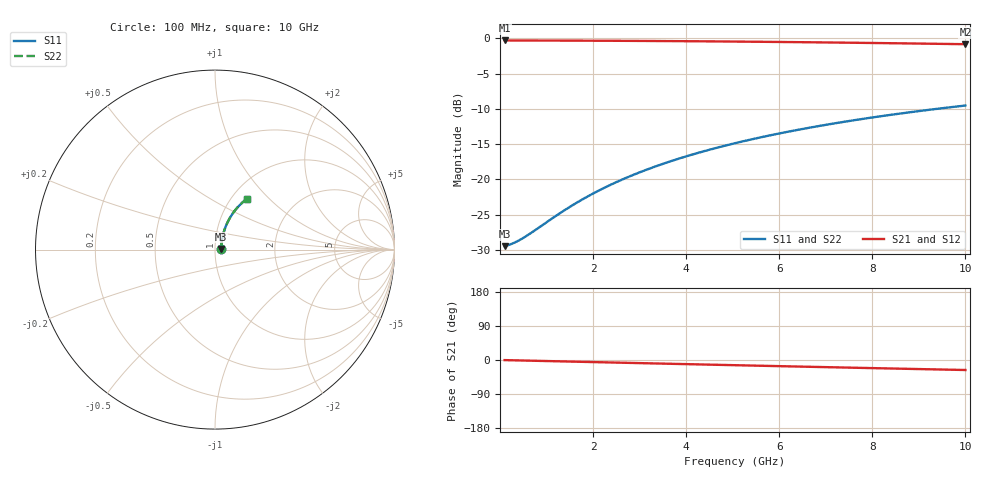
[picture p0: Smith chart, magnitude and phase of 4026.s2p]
# Hz S RI R 50.00
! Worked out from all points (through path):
!   100 points, 100 MHz to 10 GHz, reference 50 ohm
!   highest |S21| = -0.30 dB at 100 MHz (marker M1); lowest = -0.8 dB at 10 GHz (marker M2)
!   group delay of S21, straight-line fit = 7.35 ps
!   lowest |S11| = -29.4 dB at 100 MHz (marker M3), VSWR 1.07, Z = 53.5 + j0.367 ohm
!   |S11| at or under -10 dB: start of sweep to 9.375 GHz
!   |S22| runs from -29.4 to -9.5 dB; largest |S21 - S12| = 0
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1e8  0.0335 0.00343  0.9665 -0.00463  0.9665 -0.00463  0.0335 0.00343
2e8  0.0338 0.00685  0.9662 -0.00926  0.9662 -0.00926  0.0338 0.00685
3e8  0.034 0.0103  0.966 -0.0139  0.966 -0.0139  0.034 0.0103
5e8  0.0345 0.0171  0.9655 -0.0231  0.9655 -0.0231  0.0345 0.0171
7e8  0.0351 0.0239  0.9649 -0.0324  0.9649 -0.0324  0.0351 0.0239
1.3e9  0.0374 0.0443  0.9624 -0.06  0.9624 -0.06  0.0374 0.0443
1.6e9  0.039 0.0544  0.9608 -0.0737  0.9608 -0.0737  0.039 0.0544
1.8e9  0.0402 0.0611  0.9595 -0.0828  0.9595 -0.0828  0.0402 0.0611
2.2e9  0.0429 0.0744  0.9567 -0.101  0.9567 -0.101  0.0429 0.0744
2.6e9  0.0462 0.0876  0.9533 -0.119  0.9533 -0.119  0.0462 0.0876
3e9  0.0499 0.1006  0.9494 -0.1368  0.9494 -0.1368  0.0499 0.1006
3.4e9  0.0541 0.1135  0.945 -0.1545  0.945 -0.1545  0.0541 0.1135
3.8e9  0.0587 0.1261  0.9402 -0.1719  0.9402 -0.1719  0.0587 0.1261
4.2e9  0.0638 0.1385  0.9349 -0.1891  0.9349 -0.1891  0.0638 0.1385
4.6e9  0.0693 0.1506  0.9291 -0.2061  0.9291 -0.2061  0.0693 0.1506
5.1e9  0.0768 0.1654  0.9212 -0.227  0.9212 -0.227  0.0768 0.1654
5.9e9  0.0901 0.1882  0.9073 -0.2594  0.9073 -0.2594  0.0901 0.1882
6.7e9  0.1048 0.2096  0.8918 -0.2906  0.8918 -0.2906  0.1048 0.2096
7.5e9  0.1209 0.2297  0.8748 -0.3205  0.8748 -0.3205  0.1209 0.2297
8.4e9  0.1404 0.2506  0.8542 -0.3523  0.8542 -0.3523  0.1404 0.2506
9.2e9  0.1588 0.2675  0.8348 -0.379  0.8348 -0.379  0.1588 0.2675
1e10  0.178 0.2829  0.8144 -0.4042  0.8144 -0.4042  0.178 0.2829
